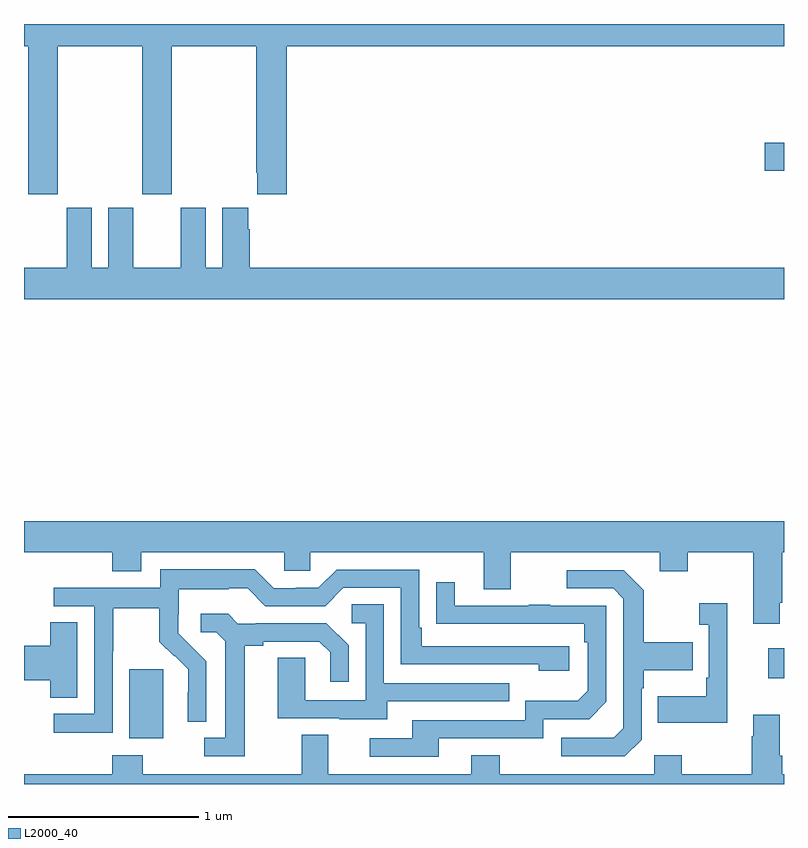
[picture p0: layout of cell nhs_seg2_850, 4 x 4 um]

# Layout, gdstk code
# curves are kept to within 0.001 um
import gdstk
lib = gdstk.Library(unit=1e-6, precision=1e-09)
def R(c, l, rs):  # rectangles x0, y0, x1, y1
    for r in rs: c.add(gdstk.rectangle(r[:2], r[2:], *l))
def P(c, l, *ps):  # polygons
    for p in ps: c.add(gdstk.Polygon(p, *l))
L2000_40 = (2000, 40)

nhs_seg2_850 = lib.new_cell('nhs_seg2_850')
R(nhs_seg2_850, L2000_40, [(155.555,596.042,155.734,596.403), (158.916,596.357,159,596.515), (158.898,599.027,159,599.174)])
P(nhs_seg2_850, L2000_40, [(155.178,599.684),(155.623,599.684),(155.623,598.905),(155.778,598.905),(155.778,599.684),(156.223,599.684),(156.223,599.017),(156.227,599.017),(156.227,598.905),(156.383,598.905),(156.383,599.684),(159,599.684),(159,599.8),(155,599.8),(155,599.684),(155.023,599.684),(155.023,598.905),(155.178,598.905)],
  [(159,598.516),(156.188,598.516),(156.188,598.721),(156.181,598.721),(156.181,598.834),(156.044,598.834),(156.044,598.516),(155.956,598.516),(155.956,598.834),(155.825,598.834),(155.825,598.516),(155.575,598.516),(155.575,598.834),(155.444,598.834),(155.444,598.516),(155.356,598.516),(155.356,598.834),(155.225,598.834),(155.225,598.516),(155,598.516),(155,598.352),(159,598.352)],
  [(158.977,596.755),(158.99,596.755),(158.99,597.02),(159,597.02),(159,597.184),(155,597.184),(155,597.02),(155.465,597.02),(155.465,596.921),(155.617,596.921),(155.617,597.02),(156.369,597.02),(156.369,596.922),(156.507,596.922),(156.507,597.02),(157.421,597.02),(157.421,596.826),(157.561,596.826),(157.561,597.02),(158.345,597.02),(158.345,596.921),(158.493,596.921),(158.493,597.02),(158.837,597.02),(158.837,596.643),(158.977,596.643)],
  [(155.466,596.5),(155.469,596.5),(155.469,596.724),(155.713,596.724),(155.713,596.549),(155.79,596.472),(155.793,596.475),(155.864,596.405),(155.864,596.282),(155.862,596.282),(155.862,596.128),(155.958,596.128),(155.958,596.446),(155.812,596.594),(155.812,596.691),(155.814,596.691),(155.814,596.825),(156.077,596.825),(156.077,596.829),(156.177,596.829),(156.27,596.736),(156.585,596.736),(156.681,596.832),(156.984,596.832),(156.984,596.43),(157.709,596.43),(157.709,596.396),(157.87,596.396),(157.87,596.526),(157.093,596.526),(157.093,596.623),(157.08,596.623),(157.08,596.928),(156.645,596.928),(156.549,596.832),(156.431,596.832),(156.431,596.829),(156.315,596.829),(156.215,596.929),(155.718,596.929),(155.718,596.832),(155.157,596.832),(155.157,596.736),(155.37,596.736),(155.37,596.169),(155.157,596.169),(155.157,596.071),(155.466,596.071)],
  [(158.25,596.034),(158.25,596.303),(158.263,596.303),(158.263,596.399),(158.519,596.399),(158.519,596.547),(158.263,596.547),(158.263,596.819),(158.157,596.925),(157.857,596.925),(157.857,596.829),(158.1,596.829),(158.154,596.775),(158.154,596.094),(158.103,596.043),(157.827,596.043),(157.827,595.947),(158.163,595.947)],
  [(157.183,596.04),(157.734,596.04),(157.734,596.142),(157.974,596.142),(158.064,596.232),(158.064,596.739),(157.769,596.739),(157.769,596.744),(157.657,596.744),(157.657,596.739),(157.267,596.739),(157.267,596.863),(157.171,596.863),(157.171,596.644),(157.948,596.643),(157.948,596.546),(157.968,596.546),(157.968,596.292),(157.915,596.239),(157.638,596.239),(157.638,596.136),(157.043,596.136),(157.043,596.04),(156.819,596.04),(156.819,595.944),(157.183,595.944)],
  [(158.702,596.752),(158.553,596.752),(158.553,596.639),(158.604,596.639),(158.604,596.359),(158.592,596.359),(158.592,596.263),(158.335,596.263),(158.335,596.123),(158.702,596.123)],
  [(156.913,596.235),(157.553,596.235),(157.553,596.331),(156.894,596.331),(156.894,596.747),(156.726,596.747),(156.726,596.646),(156.798,596.646),(156.798,596.241),(156.48,596.241),(156.48,596.465),(156.335,596.465),(156.335,596.145),(156.659,596.145),(156.659,596.141),(156.913,596.141)],
  [(156.163,596.528),(156.259,596.528),(156.259,596.55),(156.554,596.55),(156.611,596.493),(156.611,596.337),(156.708,596.337),(156.708,596.53),(156.592,596.646),(156.22,596.646),(156.22,596.643),(156.126,596.643),(156.074,596.695),(155.931,596.695),(155.931,596.598),(156.012,596.598),(156.059,596.551),(156.059,596.043),(155.949,596.043),(155.949,595.947),(156.163,595.947)],
  [(155.281,596.651),(155.138,596.651),(155.138,596.528),(155,596.528),(155,596.345),(155.138,596.345),(155.138,596.254),(155.281,596.254)],
  [(159,595.852),(158.99,595.852),(158.99,595.948),(158.977,595.948),(158.977,596.164),(158.837,596.164),(158.837,596.051),(158.83,596.051),(158.83,595.852),(158.463,595.852),(158.463,595.951),(158.316,595.951),(158.316,595.852),(157.503,595.852),(157.503,595.951),(157.355,595.951),(157.355,595.852),(156.601,595.852),(156.601,596.06),(156.461,596.06),(156.461,595.852),(155.625,595.852),(155.625,595.951),(155.465,595.951),(155.465,595.852),(155,595.852),(155,595.8),(159,595.8)])

lib.write_gds('nhs_seg2_850.gds')
